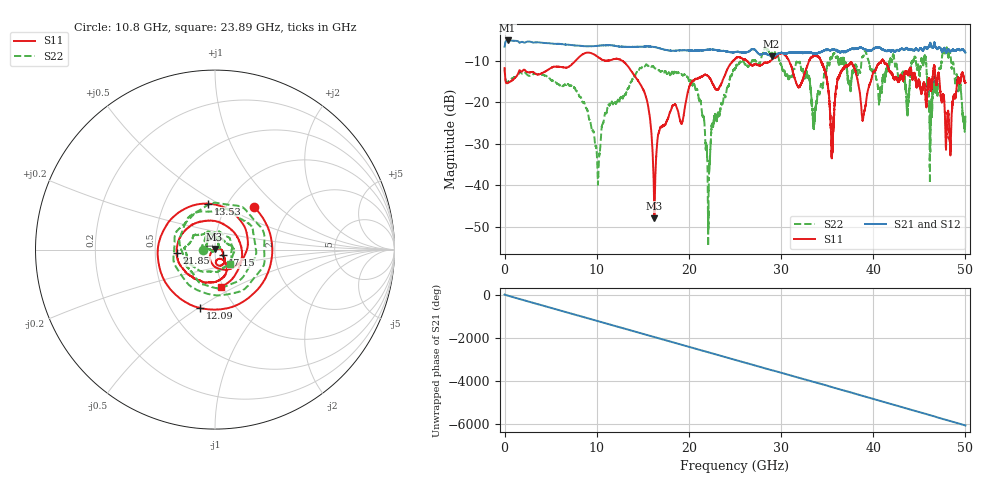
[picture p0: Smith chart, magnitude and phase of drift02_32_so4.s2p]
!Created with skrf (http://scikit-rf.org).
# Hz S RI R 50.0
!freq ReS11 ImS11 ReS21 ImS21 ReS12 ImS12 ReS22 ImS22
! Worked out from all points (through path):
!   10001 points, 300 kHz to 50 GHz, reference 50 ohm
!   highest |S21| = -5.04 dB at 325.3 MHz (marker M1); lowest = -8.9 dB at 28.98 GHz (marker M2)
!   group delay of S21, straight-line fit = 336 ps
!   lowest |S11| = -48.0 dB at 16.25 GHz (marker M3), VSWR 1.01, Z = 49.8 + j0.328 ohm
!   |S11| at or under -10 dB: start of sweep to 7.667 GHz; 12.82 GHz to 24.79 GHz (11.97 GHz wide, 63.7 % of centre); 41.13 GHz to end of sweep (the widest 3 of 11)
!   |S22| runs from -54.7 to -6.7 dB; largest |S21 - S12| = 0.029
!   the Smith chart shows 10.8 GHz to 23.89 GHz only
!   S11 on the Smith chart (normalised r, x): 10.8 GHz: 1.35, +0.71; 12.09 GHz: 0.69, -0.51; 13.53 GHz: 0.82, +0.45; 17.15 GHz: 1.09, -0.06; 21.85 GHz: 0.65, -0.03; 23.89 GHz: 0.98, -0.43
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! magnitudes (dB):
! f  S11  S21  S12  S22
! 300 kHz  -11.7  -6.5  -6.5  -11.7
! 325.3 MHz  -15.3  -5.0  -5.0  -15.1
! 8.335 GHz  -8.6  -6.4  -6.4  -19.1
! 10.11 GHz  -9.0  -6.3  -6.3  -38.5
! 10.8 GHz  -9.9  -6.2  -6.2  -23.8
! 12.09 GHz  -9.5  -6.4  -6.4  -20.3
! 13.53 GHz  -11.7  -6.6  -6.6  -16.0
! 16.25 GHz  -48.0  -6.7  -6.6  -11.7
! 16.67 GHz  -27.8  -6.8  -6.8  -12.2
! 17.15 GHz  -25.8  -7.1  -7.1  -12.6
! 21.85 GHz  -13.4  -7.3  -7.3  -30.9
! 23.89 GHz  -13.5  -7.6  -7.6  -18.5
! 25 GHz  -9.6  -7.9  -7.9  -12.0
! 28.98 GHz  -9.8  -8.9  -8.9  -8.0
! 33.34 GHz  -9.1  -8.0  -8.0  -19.8
! 35.53 GHz  -31.0  -7.3  -7.4  -9.3
! 36.8 GHz  -11.8  -7.8  -7.8  -9.7
! 38.94 GHz  -23.4  -7.1  -7.0  -8.8
! 41.67 GHz  -12.0  -7.4  -7.6  -11.5
! 46.25 GHz  -17.3  -6.1  -6.1  -22.0
! 48.13 GHz  -22.0  -7.2  -7.1  -9.0
! 50 GHz  -15.3  -7.9  -7.9  -23.2
